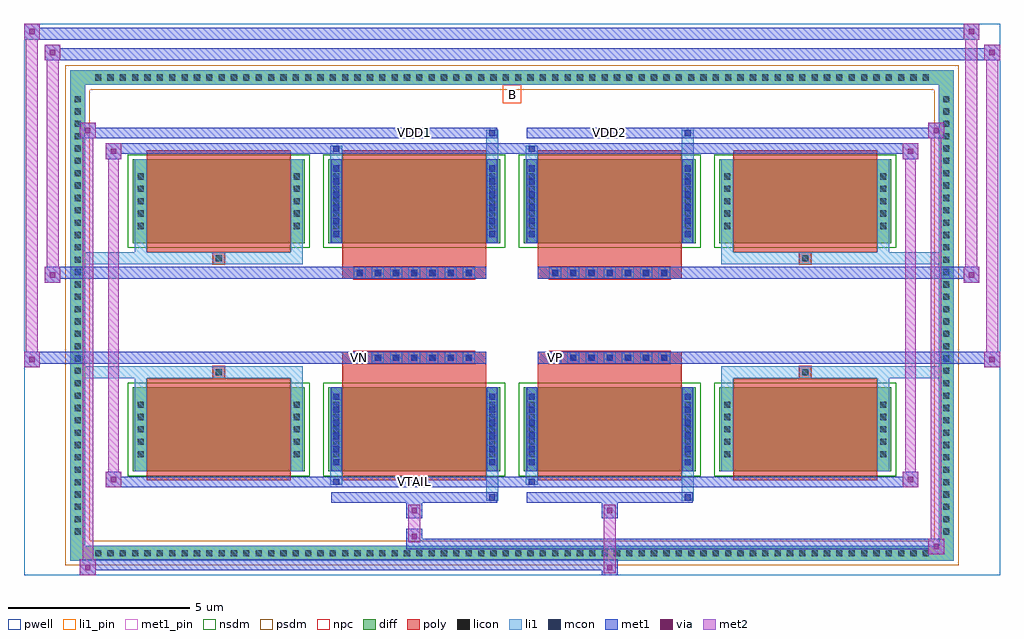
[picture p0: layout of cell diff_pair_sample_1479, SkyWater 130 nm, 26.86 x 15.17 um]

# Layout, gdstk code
import gdstk
lib = gdstk.Library(unit=1e-6, precision=5e-09)
def R(c, l, rs):  # rectangles x0, y0, x1, y1
    for r in rs: c.add(gdstk.rectangle(r[:2], r[2:], *l))
def A(c, l, x, y, w, h, nx, ny, dx, dy):  # array of equal rectangles
    R(c, l, [(x+i*dx, y+j*dy, x+i*dx+w, y+j*dy+h) for i in range(nx) for j in range(ny)])
def P(c, l, *ps):  # polygons
    for p in ps: c.add(gdstk.Polygon(p, *l))
pwell = (64, 44)
diff = (65, 20)
poly = (66, 20)
licon = (66, 44)
li1_pin = (67, 16)
li1 = (67, 20)
mcon = (67, 44)
met1_pin = (68, 16)
met1 = (68, 20)
via = (68, 44)
met2 = (69, 20)
nsdm = (93, 44)
psdm = (94, 20)
npc = (95, 20)

diff_pair_sample_1479 = lib.new_cell('diff_pair_sample_1479')
R(diff_pair_sample_1479, pwell, [(-13.43,-7.15,13.43,8.02), (-10.75,-5.34,-0.01,-0.8), (0.01,-5.34,10.75,-0.8), (-10.75,0.8,-0.01,5.34), (0.01,0.8,10.75,5.34)])
A(diff_pair_sample_1479, diff, -11.595, -6.75, 0.41, 0.41, 68, 2, 0.34, 13.09)
A(diff_pair_sample_1479, diff, -12.16, -6.155, 0.41, 0.41, 1, 36, 0, 0.34)
A(diff_pair_sample_1479, diff, 11.75, -6.155, 0.41, 0.41, 1, 36, 0, 0.34)
A(diff_pair_sample_1479, diff, -10.44, -4.295, 4.74, 2.31, 4, 2, 5.38, 6.28)
R(diff_pair_sample_1479, diff, [(-11.595,-6.75,11.595,-6.34), (-12.16,-6.155,-11.75,6.155), (11.75,-6.155,12.16,6.155), (-11.595,6.34,11.595,6.75)])
P(diff_pair_sample_1479, diff, [(12.16,6.75),(-12.16,6.75),(-12.16,-6.34),(-11.75,-6.34),(-11.75,6.34),(11.75,6.34),(11.75,-6.34),(-11.75,-6.34),(-12.16,-6.34),(-12.16,-6.75),(12.16,-6.75)])
A(diff_pair_sample_1479, poly, -10.05, -4.545, 3.96, 2.81, 4, 2, 5.38, 6.28)
A(diff_pair_sample_1479, poly, -4.355, -1.33, 0.33, 0.33, 7, 2, 0.5, 2.33)
A(diff_pair_sample_1479, poly, 1.025, -1.33, 0.33, 0.33, 7, 2, 0.5, 2.33)
R(diff_pair_sample_1479, poly, [(-8.235,-1.735,-7.905,-1.405), (-8.235,-1.735,-7.905,-1.405), (-4.67,-1.735,-0.71,-1.33), (0.71,-1.735,4.67,-1.33), (7.905,-1.735,8.235,-1.405), (7.905,-1.735,8.235,-1.405), (-4.67,-1.33,-0.71,-1), (0.71,-1.33,4.67,-1), (-4.67,1,-0.71,1.33), (0.71,1,4.67,1.33), (-4.67,1.33,-0.71,1.735), (0.71,1.33,4.67,1.735), (-8.235,1.405,-7.905,1.735), (-8.235,1.405,-7.905,1.735), (7.905,1.405,8.235,1.735), (7.905,1.405,8.235,1.735)])
A(diff_pair_sample_1479, licon, -11.475, -6.63, 0.17, 0.17, 68, 2, 0.34, 13.09)
A(diff_pair_sample_1479, licon, -12.04, -6.035, 0.17, 0.17, 1, 36, 0, 0.34)
A(diff_pair_sample_1479, licon, 11.87, -6.035, 0.17, 0.17, 1, 36, 0, 0.34)
A(diff_pair_sample_1479, licon, -10.3, -3.905, 0.17, 0.17, 1, 5, 0, 0.34)
A(diff_pair_sample_1479, licon, -6.01, -3.905, 0.17, 0.17, 1, 5, 0, 0.34)
A(diff_pair_sample_1479, licon, -4.92, -3.905, 0.17, 0.17, 1, 5, 0, 0.34)
A(diff_pair_sample_1479, licon, -0.63, -3.905, 0.17, 0.17, 1, 5, 0, 0.34)
A(diff_pair_sample_1479, licon, 0.46, -3.905, 0.17, 0.17, 1, 5, 0, 0.34)
A(diff_pair_sample_1479, licon, 4.75, -3.905, 0.17, 0.17, 1, 5, 0, 0.34)
A(diff_pair_sample_1479, licon, 5.84, -3.905, 0.17, 0.17, 1, 5, 0, 0.34)
A(diff_pair_sample_1479, licon, 10.13, -3.905, 0.17, 0.17, 1, 5, 0, 0.34)
A(diff_pair_sample_1479, licon, -4.275, -1.25, 0.17, 0.17, 7, 2, 0.5, 2.33)
A(diff_pair_sample_1479, licon, 1.105, -1.25, 0.17, 0.17, 7, 2, 0.5, 2.33)
A(diff_pair_sample_1479, licon, -10.3, 2.375, 0.17, 0.17, 1, 5, 0, 0.34)
A(diff_pair_sample_1479, licon, -6.01, 2.375, 0.17, 0.17, 1, 5, 0, 0.34)
A(diff_pair_sample_1479, licon, -4.92, 2.375, 0.17, 0.17, 1, 5, 0, 0.34)
A(diff_pair_sample_1479, licon, -0.63, 2.375, 0.17, 0.17, 1, 5, 0, 0.34)
A(diff_pair_sample_1479, licon, 0.46, 2.375, 0.17, 0.17, 1, 5, 0, 0.34)
A(diff_pair_sample_1479, licon, 4.75, 2.375, 0.17, 0.17, 1, 5, 0, 0.34)
A(diff_pair_sample_1479, licon, 5.84, 2.375, 0.17, 0.17, 1, 5, 0, 0.34)
A(diff_pair_sample_1479, licon, 10.13, 2.375, 0.17, 0.17, 1, 5, 0, 0.34)
R(diff_pair_sample_1479, licon, [(-8.155,-1.655,-7.985,-1.485), (7.985,-1.655,8.155,-1.485), (-8.155,1.485,-7.985,1.655), (7.985,1.485,8.155,1.655)])
R(diff_pair_sample_1479, li1_pin, [(-0.25,5.84,0.25,6.34)])
A(diff_pair_sample_1479, li1, -11.555, -6.71, 0.33, 0.33, 68, 2, 0.34, 13.09)
A(diff_pair_sample_1479, li1, -12.12, -6.115, 0.33, 0.33, 1, 36, 0, 0.34)
A(diff_pair_sample_1479, li1, 11.79, -6.115, 0.33, 0.33, 1, 36, 0, 0.34)
A(diff_pair_sample_1479, li1, -4.92, -4.125, 0.17, 0.17, 1, 6, 0, 0.36)
A(diff_pair_sample_1479, li1, -0.63, -4.125, 0.17, 0.17, 1, 6, 0, 0.36)
A(diff_pair_sample_1479, li1, 0.46, -4.125, 0.17, 0.17, 1, 6, 0, 0.36)
A(diff_pair_sample_1479, li1, 4.75, -4.125, 0.17, 0.17, 1, 6, 0, 0.36)
A(diff_pair_sample_1479, li1, -10.38, -3.985, 0.33, 0.33, 1, 5, 0, 0.34)
A(diff_pair_sample_1479, li1, -6.09, -3.985, 0.33, 0.33, 1, 5, 0, 0.34)
A(diff_pair_sample_1479, li1, -5, -3.985, 0.33, 0.33, 1, 5, 0, 0.34)
A(diff_pair_sample_1479, li1, -0.71, -3.985, 0.33, 0.33, 1, 5, 0, 0.34)
A(diff_pair_sample_1479, li1, 0.38, -3.985, 0.33, 0.33, 1, 5, 0, 0.34)
A(diff_pair_sample_1479, li1, 4.67, -3.985, 0.33, 0.33, 1, 5, 0, 0.34)
A(diff_pair_sample_1479, li1, 5.76, -3.985, 0.33, 0.33, 1, 5, 0, 0.34)
A(diff_pair_sample_1479, li1, 10.05, -3.985, 0.33, 0.33, 1, 5, 0, 0.34)
A(diff_pair_sample_1479, li1, -4.355, -1.33, 0.33, 0.33, 7, 2, 0.5, 2.33)
A(diff_pair_sample_1479, li1, 1.025, -1.33, 0.33, 0.33, 7, 2, 0.5, 2.33)
A(diff_pair_sample_1479, li1, -4.92, 2.155, 0.17, 0.17, 1, 6, 0, 0.36)
A(diff_pair_sample_1479, li1, -0.63, 2.155, 0.17, 0.17, 1, 6, 0, 0.36)
A(diff_pair_sample_1479, li1, 0.46, 2.155, 0.17, 0.17, 1, 6, 0, 0.36)
A(diff_pair_sample_1479, li1, 4.75, 2.155, 0.17, 0.17, 1, 6, 0, 0.36)
A(diff_pair_sample_1479, li1, -10.38, 2.295, 0.33, 0.33, 1, 5, 0, 0.34)
A(diff_pair_sample_1479, li1, -6.09, 2.295, 0.33, 0.33, 1, 5, 0, 0.34)
A(diff_pair_sample_1479, li1, -5, 2.295, 0.33, 0.33, 1, 5, 0, 0.34)
A(diff_pair_sample_1479, li1, -0.71, 2.295, 0.33, 0.33, 1, 5, 0, 0.34)
A(diff_pair_sample_1479, li1, 0.38, 2.295, 0.33, 0.33, 1, 5, 0, 0.34)
A(diff_pair_sample_1479, li1, 4.67, 2.295, 0.33, 0.33, 1, 5, 0, 0.34)
A(diff_pair_sample_1479, li1, 5.76, 2.295, 0.33, 0.33, 1, 5, 0, 0.34)
A(diff_pair_sample_1479, li1, 10.05, 2.295, 0.33, 0.33, 1, 5, 0, 0.34)
R(diff_pair_sample_1479, li1, [(-12.16,-6.75,-11.75,-6.34), (-12.16,-6.75,-11.75,-6.34), (-11.75,-6.75,11.75,-6.34), (11.75,-6.75,12.16,-6.34), (11.75,-6.75,12.16,-6.34), (-12.16,-6.34,-11.75,6.34), (11.75,-6.34,12.16,6.34), (-0.71,-5.1,-0.38,-4.295), (-0.63,-5.1,-0.46,-4.93), (4.67,-5.1,5,-4.295), (4.75,-5.1,4.92,-4.93), (-5,-4.67,-4.67,-4.295), (-4.92,-4.67,-4.75,-4.5), (0.38,-4.67,0.71,-4.295), (0.46,-4.67,0.63,-4.5), (-10.38,-4.295,-10.05,-1.985), (-6.09,-4.295,-5.76,-1.985), (-5,-4.295,-4.67,-1.985), (-0.71,-4.295,-0.38,-1.985), (0.38,-4.295,0.71,-1.985), (4.67,-4.295,5,-1.985), (5.76,-4.295,6.09,-1.985), (10.05,-4.295,10.38,-1.985), (-4.92,-4.125,-4.75,-2.155), (-0.63,-4.125,-0.46,-2.155), (0.46,-4.125,0.63,-2.155), (4.75,-4.125,4.92,-2.155), (-10.38,-1.985,-10.05,-1.405), (-6.09,-1.985,-5.76,-1.405), (5.76,-1.985,6.09,-1.405), (10.05,-1.985,10.38,-1.405), (-12.16,-1.735,-8.235,-1.405), (-10.38,-1.735,-8.235,-1.405), (-8.235,-1.735,-7.905,-1.405), (-7.905,-1.735,-5.76,-1.405), (5.76,-1.735,7.905,-1.405), (7.905,-1.735,8.235,-1.405), (7.905,-1.735,12.16,-1.405), (8.235,-1.735,10.38,-1.405), (-12.16,1.405,-8.235,1.735), (-10.38,1.405,-8.235,1.735), (-10.38,1.405,-10.05,1.985), (-8.235,1.405,-7.905,1.735), (-7.905,1.405,-5.76,1.735), (-6.09,1.405,-5.76,1.985), (5.76,1.405,7.905,1.735), (5.76,1.405,6.09,1.985), (7.905,1.405,8.235,1.735), (7.905,1.405,12.16,1.735), (8.235,1.405,10.38,1.735), (10.05,1.405,10.38,1.985), (-10.38,1.985,-10.05,4.295), (-6.09,1.985,-5.76,4.295), (-5,1.985,-4.67,4.295), (-0.71,1.985,-0.38,4.295), (0.38,1.985,0.71,4.295), (4.67,1.985,5,4.295), (5.76,1.985,6.09,4.295), (10.05,1.985,10.38,4.295), (-4.92,2.155,-4.75,4.125), (-0.63,2.155,-0.46,4.125), (0.46,2.155,0.63,4.125), (4.75,2.155,4.92,4.125), (-5,4.295,-4.67,4.67), (-0.71,4.295,-0.38,5.1), (0.38,4.295,0.71,4.67), (4.67,4.295,5,5.1), (-4.92,4.5,-4.75,4.67), (0.46,4.5,0.63,4.67), (-0.63,4.93,-0.46,5.1), (4.75,4.93,4.92,5.1), (-12.16,6.34,-11.75,6.75), (-12.16,6.34,-11.75,6.75), (-11.75,6.34,11.75,6.75), (11.75,6.34,12.16,6.75), (11.75,6.34,12.16,6.75)])
A(diff_pair_sample_1479, mcon, -4.92, -4.125, 0.17, 0.17, 1, 6, 0, 0.36)
A(diff_pair_sample_1479, mcon, -0.63, -4.125, 0.17, 0.17, 1, 6, 0, 0.36)
A(diff_pair_sample_1479, mcon, 0.46, -4.125, 0.17, 0.17, 1, 6, 0, 0.36)
A(diff_pair_sample_1479, mcon, 4.75, -4.125, 0.17, 0.17, 1, 6, 0, 0.36)
A(diff_pair_sample_1479, mcon, -4.275, -1.25, 0.17, 0.17, 7, 2, 0.5, 2.33)
A(diff_pair_sample_1479, mcon, 1.105, -1.25, 0.17, 0.17, 7, 2, 0.5, 2.33)
A(diff_pair_sample_1479, mcon, -4.92, 2.155, 0.17, 0.17, 1, 6, 0, 0.36)
A(diff_pair_sample_1479, mcon, -0.63, 2.155, 0.17, 0.17, 1, 6, 0, 0.36)
A(diff_pair_sample_1479, mcon, 0.46, 2.155, 0.17, 0.17, 1, 6, 0, 0.36)
A(diff_pair_sample_1479, mcon, 4.75, 2.155, 0.17, 0.17, 1, 6, 0, 0.36)
R(diff_pair_sample_1479, mcon, [(-0.63,-5.1,-0.46,-4.93), (4.75,-5.1,4.92,-4.93), (-4.92,-4.67,-4.75,-4.5), (0.46,-4.67,0.63,-4.5), (-4.92,4.5,-4.75,4.67), (0.46,4.5,0.63,4.67), (-0.63,4.93,-0.46,5.1), (4.75,4.93,4.92,5.1)])
R(diff_pair_sample_1479, met1_pin, [(-2.825,-4.71,-2.555,-4.44), (-4.325,-1.29,-4.055,-1.02), (1.055,-1.29,1.325,-1.02), (-2.825,4.89,-2.555,5.16), (2.555,4.89,2.825,5.16)])
A(diff_pair_sample_1479, met1, -4.98, -4.185, 0.29, 0.29, 1, 6, 0, 0.36)
A(diff_pair_sample_1479, met1, -0.69, -4.185, 0.29, 0.29, 1, 6, 0, 0.36)
A(diff_pair_sample_1479, met1, 0.4, -4.185, 0.29, 0.29, 1, 6, 0, 0.36)
A(diff_pair_sample_1479, met1, 4.69, -4.185, 0.29, 0.29, 1, 6, 0, 0.36)
A(diff_pair_sample_1479, met1, -4.335, -1.31, 0.29, 0.29, 7, 2, 0.5, 2.33)
A(diff_pair_sample_1479, met1, 1.045, -1.31, 0.29, 0.29, 7, 2, 0.5, 2.33)
A(diff_pair_sample_1479, met1, -4.98, 2.095, 0.29, 0.29, 1, 6, 0, 0.36)
A(diff_pair_sample_1479, met1, -0.69, 2.095, 0.29, 0.29, 1, 6, 0, 0.36)
A(diff_pair_sample_1479, met1, 0.4, 2.095, 0.29, 0.29, 1, 6, 0, 0.36)
A(diff_pair_sample_1479, met1, 4.69, 2.095, 0.29, 0.29, 1, 6, 0, 0.36)
R(diff_pair_sample_1479, met1, [(-11.89,-7.15,-11.46,-6.72), (2.475,-7.15,2.905,-6.72), (-11.89,-7.01,2.905,-6.72), (11.46,-6.58,11.89,-6.15), (-2.905,-6.44,11.89,-6.15), (-2.905,-6.3,-2.475,-5.87), (-2.905,-5.59,-2.475,-5.16), (2.475,-5.59,2.905,-5.16), (-4.98,-5.16,-0.4,-4.87), (-0.69,-5.16,-0.4,-4.87), (0.4,-5.16,4.98,-4.87), (4.69,-5.16,4.98,-4.87), (-11.18,-4.73,-10.75,-4.3), (-11.18,-4.73,-4.98,-4.44), (-4.98,-4.73,-4.69,-4.44), (-4.98,-4.73,-0.4,-4.44), (-0.4,-4.73,0.4,-4.44), (0.4,-4.73,0.69,-4.44), (0.4,-4.73,4.98,-4.44), (4.98,-4.73,11.18,-4.44), (10.75,-4.73,11.18,-4.3), (-4.98,-4.295,-4.69,-1.985), (-0.69,-4.295,-0.4,-1.985), (0.4,-4.295,0.69,-1.985), (4.69,-4.295,4.98,-1.985), (-13.43,-1.43,-13,-1), (13,-1.43,13.43,-1), (-13.43,-1.33,-0.71,-1), (-4.67,-1.33,-0.71,-1), (0.71,-1.33,4.67,-1), (0.71,-1.33,13.43,-1), (-12.86,0.9,-12.43,1.33), (12.43,0.9,12.86,1.33), (-12.86,1,-4.67,1.33), (-4.67,1,-0.71,1.33), (0.71,1,4.67,1.33), (4.67,1,12.86,1.33), (-4.98,1.985,-4.69,4.295), (-0.69,1.985,-0.4,4.295), (0.4,1.985,0.69,4.295), (4.69,1.985,4.98,4.295), (-11.18,4.3,-10.75,4.73), (10.75,4.3,11.18,4.73), (-11.18,4.44,-4.98,4.73), (-4.98,4.44,-4.69,4.73), (-4.98,4.44,-0.4,4.73), (-0.4,4.44,0.4,4.73), (0.4,4.44,0.69,4.73), (0.4,4.44,4.98,4.73), (4.98,4.44,11.18,4.73), (-11.89,4.87,-11.46,5.3), (-11.89,4.87,-4.98,5.16), (-4.98,4.87,-0.4,5.16), (-0.69,4.87,-0.4,5.16), (0.4,4.87,4.98,5.16), (4.69,4.87,4.98,5.16), (4.98,4.87,11.89,5.16), (11.46,4.87,11.89,5.3), (-12.86,7.02,-12.43,7.45), (-12.86,7.02,-10.75,7.35), (-10.75,7.02,10.75,7.35), (10.75,7.02,13.43,7.35), (13,7.02,13.43,7.45), (-13.43,7.59,-13,8.02), (-13.43,7.59,-10.75,7.92), (-10.75,7.59,10.75,7.92), (10.75,7.59,12.86,7.92), (12.43,7.59,12.86,8.02)])
R(diff_pair_sample_1479, via, [(-11.75,-7.01,-11.6,-6.86), (2.615,-7.01,2.765,-6.86), (11.6,-6.44,11.75,-6.29), (-2.765,-6.16,-2.615,-6.01), (-2.765,-5.45,-2.615,-5.3), (2.615,-5.45,2.765,-5.3), (-11.04,-4.59,-10.89,-4.44), (10.89,-4.59,11.04,-4.44), (-13.29,-1.29,-13.14,-1.14), (13.14,-1.29,13.29,-1.14), (-12.72,1.04,-12.57,1.19), (12.57,1.04,12.72,1.19), (-11.04,4.44,-10.89,4.59), (10.89,4.44,11.04,4.59), (-11.75,5.01,-11.6,5.16), (11.6,5.01,11.75,5.16), (-12.72,7.16,-12.57,7.31), (13.14,7.16,13.29,7.31), (-13.29,7.73,-13.14,7.88), (12.57,7.73,12.72,7.88)])
R(diff_pair_sample_1479, met2, [(-11.89,-7.15,-11.46,-6.72), (-11.82,-7.15,-11.53,5.3), (-11.53,-7.15,-11.46,-6.72), (-11.84,-7.1,-11.51,-6.77), (2.525,-7.1,2.855,-6.77), (2.525,-6.77,2.855,-5.54), (11.46,-6.58,11.89,-6.15), (11.53,-6.58,11.82,5.3), (11.82,-6.58,11.89,-6.15), (11.51,-6.53,11.84,-6.2), (-2.855,-6.25,-2.525,-5.92), (-2.855,-5.92,-2.525,-5.54), (-2.855,-5.54,-2.525,-5.21), (2.525,-5.54,2.855,-5.21), (-11.18,-4.73,-10.75,-4.3), (-11.11,-4.73,-10.82,4.73), (-10.82,-4.73,-10.75,-4.3), (10.75,-4.73,11.18,-4.3), (10.82,-4.73,11.11,4.73), (11.11,-4.73,11.18,-4.3), (-11.13,-4.68,-10.8,-4.35), (10.8,-4.68,11.13,-4.35), (-13.43,-1.43,-13,-1), (-13.38,-1.43,-13.05,8.02), (-13.05,-1.43,-13,-1), (13,-1.43,13.43,-1), (13.05,-1.43,13.38,7.45), (13.38,-1.43,13.43,-1), (-13.38,-1.38,-13.05,-1.05), (13.05,-1.38,13.38,-1.05), (-12.86,0.9,-12.43,1.33), (-12.81,0.9,-12.48,7.45), (-12.48,0.9,-12.43,1.33), (12.43,0.9,12.86,1.33), (12.48,0.9,12.81,8.02), (12.81,0.9,12.86,1.33), (-12.81,0.95,-12.48,1.28), (12.48,0.95,12.81,1.28), (-11.18,4.3,-10.75,4.73), (-10.82,4.3,-10.75,4.73), (10.75,4.3,11.18,4.73), (11.11,4.3,11.18,4.73), (-11.13,4.35,-10.8,4.68), (10.8,4.35,11.13,4.68), (-11.89,4.87,-11.46,5.3), (-11.53,4.87,-11.46,5.3), (11.46,4.87,11.89,5.3), (11.82,4.87,11.89,5.3), (-11.84,4.92,-11.51,5.25), (11.51,4.92,11.84,5.25), (-12.86,7.02,-12.43,7.45), (-12.48,7.02,-12.43,7.45), (13,7.02,13.43,7.45), (13.38,7.02,13.43,7.45), (-12.81,7.07,-12.48,7.4), (13.05,7.07,13.38,7.4), (-13.43,7.59,-13,8.02), (-13.05,7.59,-13,8.02), (12.43,7.59,12.86,8.02), (12.81,7.59,12.86,8.02), (-13.38,7.64,-13.05,7.97), (12.48,7.64,12.81,7.97)])
A(diff_pair_sample_1479, nsdm, -10.57, -4.425, 5, 2.57, 4, 2, 5.38, 6.28)
P(diff_pair_sample_1479, psdm, [(12.29,6.88),(-12.29,6.88),(-12.29,-6.21),(-11.62,-6.21),(-11.62,6.21),(11.62,6.21),(11.62,-6.21),(-11.62,-6.21),(-12.29,-6.21),(-12.29,-6.88),(12.29,-6.88)])
A(diff_pair_sample_1479, npc, -4.375, -1.35, 0.37, 0.37, 7, 2, 0.5, 2.33)
A(diff_pair_sample_1479, npc, 1.005, -1.35, 0.37, 0.37, 7, 2, 0.5, 2.33)
R(diff_pair_sample_1479, npc, [(-8.255,-1.755,-7.885,-1.385), (7.885,-1.755,8.255,-1.385), (-4.375,-1.35,-3.505,-0.98), (-4.375,-1.35,-3.505,-0.98), (-3.875,-1.35,-3.005,-0.98), (-3.875,-1.35,-3.005,-0.98), (-3.375,-1.35,-2.505,-0.98), (-3.375,-1.35,-2.505,-0.98), (-2.875,-1.35,-2.005,-0.98), (-2.875,-1.35,-2.005,-0.98), (-2.375,-1.35,-1.505,-0.98), (-2.375,-1.35,-1.505,-0.98), (-1.875,-1.35,-1.005,-0.98), (-1.875,-1.35,-1.005,-0.98), (1.005,-1.35,1.875,-0.98), (1.005,-1.35,1.875,-0.98), (1.505,-1.35,2.375,-0.98), (1.505,-1.35,2.375,-0.98), (2.005,-1.35,2.875,-0.98), (2.005,-1.35,2.875,-0.98), (2.505,-1.35,3.375,-0.98), (2.505,-1.35,3.375,-0.98), (3.005,-1.35,3.875,-0.98), (3.005,-1.35,3.875,-0.98), (3.505,-1.35,4.375,-0.98), (3.505,-1.35,4.375,-0.98), (-4.375,0.98,-3.505,1.35), (-4.375,0.98,-3.505,1.35), (-3.875,0.98,-3.005,1.35), (-3.875,0.98,-3.005,1.35), (-3.375,0.98,-2.505,1.35), (-3.375,0.98,-2.505,1.35), (-2.875,0.98,-2.005,1.35), (-2.875,0.98,-2.005,1.35), (-2.375,0.98,-1.505,1.35), (-2.375,0.98,-1.505,1.35), (-1.875,0.98,-1.005,1.35), (-1.875,0.98,-1.005,1.35), (1.005,0.98,1.875,1.35), (1.005,0.98,1.875,1.35), (1.505,0.98,2.375,1.35), (1.505,0.98,2.375,1.35), (2.005,0.98,2.875,1.35), (2.005,0.98,2.875,1.35), (2.505,0.98,3.375,1.35), (2.505,0.98,3.375,1.35), (3.005,0.98,3.875,1.35), (3.005,0.98,3.875,1.35), (3.505,0.98,4.375,1.35), (3.505,0.98,4.375,1.35), (-8.255,1.385,-7.885,1.755), (7.885,1.385,8.255,1.755)])
diff_pair_sample_1479.add(gdstk.Label('VTAIL', (-2.69,-4.575), layer=68, texttype=5))
diff_pair_sample_1479.add(gdstk.Label('VN', (-4.19,-1.155), layer=68, texttype=5))
diff_pair_sample_1479.add(gdstk.Label('VP', (1.19,-1.155), layer=68, texttype=5))
diff_pair_sample_1479.add(gdstk.Label('B', (0,6.09), layer=67, texttype=5))
diff_pair_sample_1479.add(gdstk.Label('VDD2', (2.69,5.025), layer=68, texttype=5))
diff_pair_sample_1479.add(gdstk.Label('VDD1', (-2.69,5.025), layer=68, texttype=5))

lib.write_gds('diff_pair_sample_1479.gds')
